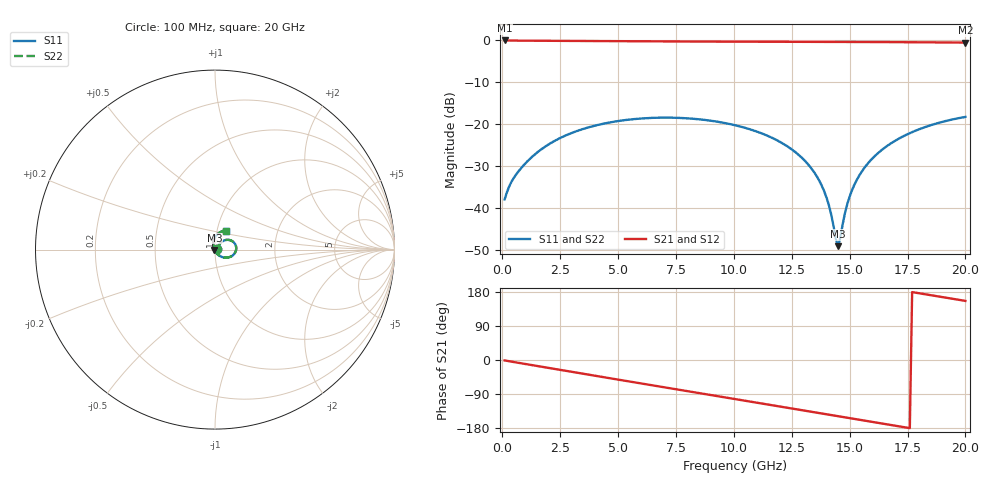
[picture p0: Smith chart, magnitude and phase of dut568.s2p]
! Touchstone file exported from HFSS 2026.1.0
!  File:  C:/ffzhzh/LocalFiles/Ansys_Project_Files/temp_train_TSV_RDL_568_1783117447_35180.aedt
!  Generated:  06:33:48 AM Jul  4, 2026
!  Design:  TSV_RDL
!  Project:  temp_train_TSV_RDL_568_1783117447_35180
! Variables:
!  h_bsmrdl = 4.24um
!  h_ox = 20um
!  h_rdl = 5um
!  h_sub = 99.49um
!  h_tmrdl = 2.82um
!  h_tsv = 99.49um
!  h_via = 3um
!  l_bsmrdl = 594.88um
!  l_sub = 3141.6um
!  l_tmrdl = 201.47um
!  m_sub = 200um
!  pitch = 36.48um
!  r_tsv = 11.3um
!  s_tmrdl = 10um
!  w_bsmrdl = 28.66um
!  w_sub = 500um
!  w_tmrdl = 21.7um
!  x_tsv_center1 = 212.32um
!  x_tsv_center2 = 835.86um
!  x_tsv_center3 = 1059.03um
!  x_tsv_center4 = 1682.57um
!  x_tsv_center5 = 1905.74um
!  x_tsv_center6 = 2529.28um
# GHz S MA R 50.000000
! Terminal data exported
! Port[1] = TM_RDL1_1_T1
! Port[2] = TM_RDL5_1_T1
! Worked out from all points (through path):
!   200 points, 100 MHz to 20 GHz, reference 50 ohm
!   highest |S21| = -0.10 dB at 100 MHz (marker M1); lowest = -0.6 dB at 20 GHz (marker M2)
!   group delay of S21, straight-line fit = 28.3 ps
!   lowest |S11| = -49.2 dB at 14.5 GHz (marker M3), VSWR 1.01, Z = 49.7 - j0.131 ohm
!   |S11| at or under -10 dB: start of sweep to end of sweep
!   |S22| runs from -49.5 to -18.3 dB; largest |S21 - S12| = 1.7e-14
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0.1  0.01256 19.7  0.9882 -1.1  0.9882 -1.1  0.01256 19.7
! Gamma 0 0 0 0
! Port Impedance 50 0 50 0
0.5  0.02276 41.4  0.9842 -5.4  0.9842 -5.4  0.02276 41.4
1.3  0.04076 50.2  0.9811 -13.7  0.9811 -13.7  0.04076 50.2
2.3  0.06352 47.6  0.9776 -24.1  0.9776 -24.1  0.06352 47.6
3.5  0.08711 38.7  0.9728 -36.4  0.9728 -36.4  0.0871 38.7
5.2  0.11 23.5  0.9662 -53.8  0.9662 -53.8  0.11 23.5
6.8  0.1186 8.2  0.9616 -70.0  0.9616 -70.0  0.1185 8.3
8.5  0.1134 -8.4  0.9585 -87.1  0.9585 -87.1  0.1133 -8.3
10.1  0.09565 -24.4  0.9569 -103.3  0.9569 -103.3  0.0956 -24.3
12.1  0.05862 -45.5  0.9552 -123.7  0.9552 -123.7  0.05856 -45.4
12.8  0.04268 -53.8  0.9543 -130.8  0.9543 -130.8  0.04261 -53.6
13.4  0.02818 -62.2  0.9534 -137.0  0.9534 -137.0  0.02811 -61.9
14  0.01328 -76.3  0.9522 -143.1  0.9522 -143.1  0.01319 -75.7
14.2  0.008423 -87.5  0.9518 -145.2  0.9518 -145.2  0.008317 -86.8
14.4  0.004282 -119.4  0.9513 -147.2  0.9513 -147.2  0.004143 -118.9
14.5  0.003478 -157.6  0.9511 -148.2  0.9511 -148.2  0.00335 -158.6
14.9  0.01107 128.2  0.9501 -152.3  0.9501 -152.3  0.01108 127.6
15.3  0.02121 115.4  0.949 -156.4  0.949 -156.4  0.02125 115.1
15.9  0.03657 105.4  0.9471 -162.5  0.9471 -162.5  0.03661 105.3
16.7  0.05652 95.5  0.9444 -170.7  0.9444 -170.7  0.05656 95.4
18.1  0.08828 80.3  0.9393 175.1  0.9393 175.1  0.08832 80.3
20  0.121 60.9  0.9327 156.0  0.9327 156.0  0.1211 61.0
